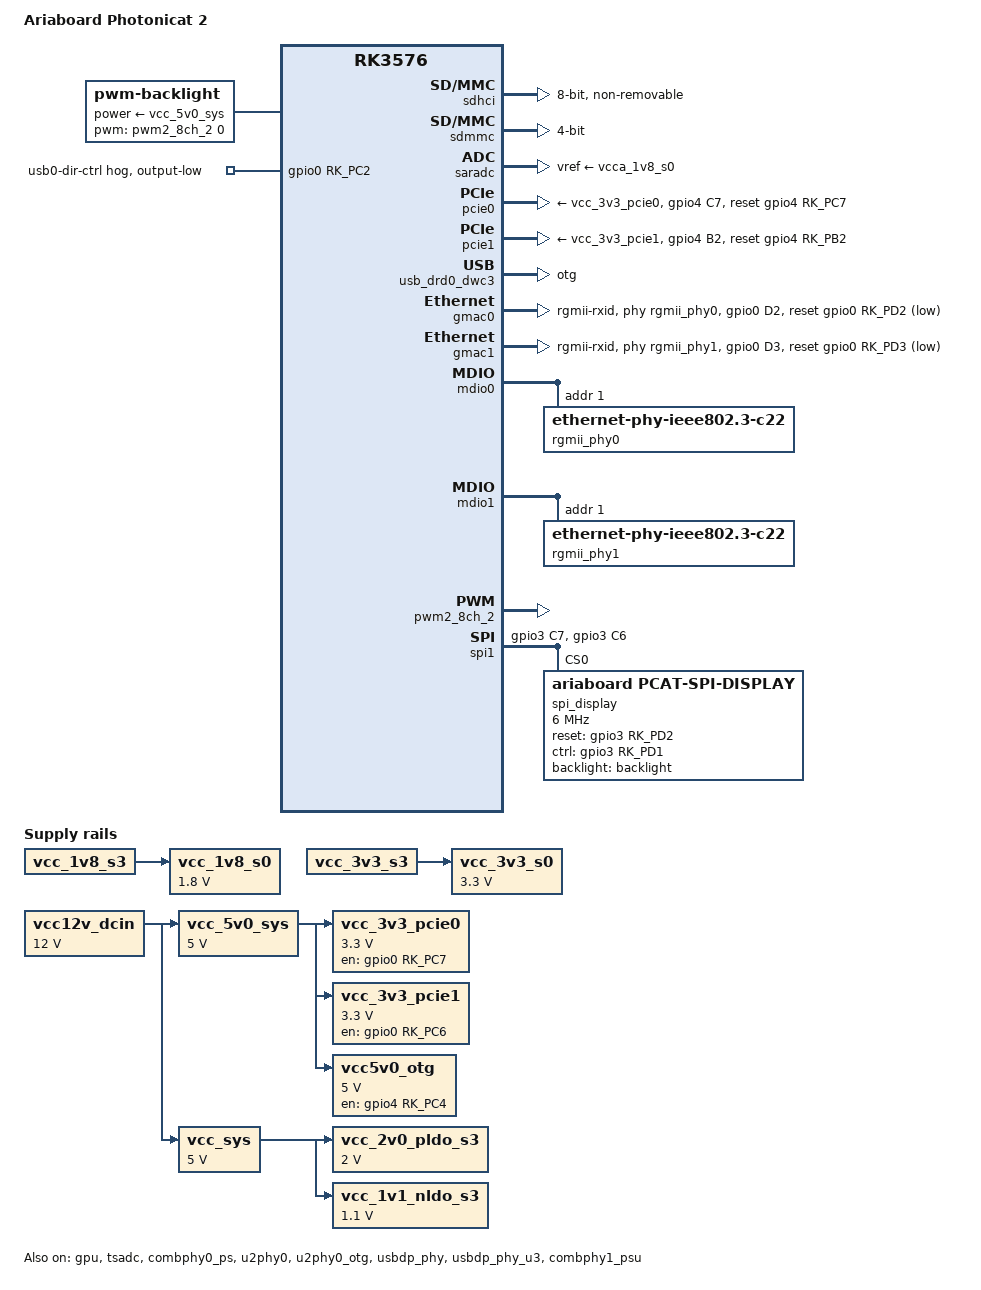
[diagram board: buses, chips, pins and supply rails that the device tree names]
// SPDX-License-Identifier: (GPL-2.0+ OR MIT)
/*
 * Copyright (c) 2025 Rockchip Electronics Co., Ltd.
 * Copyright (c) 2025 Radxa Computer (Shenzhen) Co., Ltd.
 *
 */

/dts-v1/;

#include <dt-bindings/usb/pd.h>
#include <dt-bindings/gpio/gpio.h>
#include <dt-bindings/pwm/pwm.h>
#include <dt-bindings/pinctrl/rockchip.h>
#include <dt-bindings/input/rk-input.h>
#include <dt-bindings/display/drm_mipi_dsi.h>
#include <dt-bindings/display/rockchip_vop.h>
#include <dt-bindings/sensor-dev.h>

#include "rockchip/rk3576.dtsi"
#include "rockchip/rk3576-linux.dtsi"
#include "rockchip/rk3576-rk806.dtsi"

/ {
	model = "Ariaboard Photonicat 2";
	compatible = "ariaboard,photonicat2", "rockchip,rk3576";

	aliases {
		ethernet0 = &gmac0;
		ethernet1 = &gmac1;
		mmc0 = &sdhci;
		mmc1 = &sdmmc;
	};

	vcc_2v0_pldo_s3: vcc-2v0-pldo-s3 {
		compatible = "regulator-fixed";
		regulator-name = "vcc_2v0_pldo_s3";
		regulator-boot-on;
		regulator-always-on;
		regulator-min-microvolt = <2000000>;
		regulator-max-microvolt = <2000000>;
		vin-supply = <&vcc_sys>;
	};

	vcc_1v1_nldo_s3: vcc-1v1-nldo-s3 {
		compatible = "regulator-fixed";
		regulator-name = "vcc_1v1_nldo_s3";
		regulator-boot-on;
		regulator-always-on;
		regulator-min-microvolt = <1100000>;
		regulator-max-microvolt = <1100000>;
		vin-supply = <&vcc_sys>;
	};

	vcc_1v8_s0: vcc-1v8-s0 {
		compatible = "regulator-fixed";
		regulator-name = "vcc_1v8_s0";
		regulator-boot-on;
		regulator-always-on;
		regulator-min-microvolt = <1800000>;
		regulator-max-microvolt = <1800000>;
		vin-supply = <&vcc_1v8_s3>;
	};

	vcc_3v3_s0: vcc-3v3-s0 {
		compatible = "regulator-fixed";
		regulator-name = "vcc_3v3_s0";
		regulator-boot-on;
		regulator-always-on;
		regulator-min-microvolt = <3300000>;
		regulator-max-microvolt = <3300000>;
		vin-supply = <&vcc_3v3_s3>;
	};

	vcc12v_dcin: vcc12v-dcin {
		compatible = "regulator-fixed";
		regulator-name = "vcc12v_dcin";
		regulator-always-on;
		regulator-boot-on;
		regulator-min-microvolt = <12000000>;
		regulator-max-microvolt = <12000000>;
	};

	vcc_5v0_sys: vcc5v0-sys {
		compatible = "regulator-fixed";
		regulator-name = "vcc5v0_sys";
		regulator-always-on;
		regulator-boot-on;
		regulator-min-microvolt = <5000000>;
		regulator-max-microvolt = <5000000>;
		vin-supply = <&vcc12v_dcin>;
	};

	vcc_sys: vcc5v0-sys {
		compatible = "regulator-fixed";
		regulator-name = "vcc_sys";
		regulator-always-on;
		regulator-boot-on;
		regulator-min-microvolt = <5000000>;
		regulator-max-microvolt = <5000000>;
		vin-supply = <&vcc12v_dcin>;
	};

	vcc_3v3_pcie0: regulator-vcc-3v3-pcie0 {
		compatible = "regulator-fixed";
		pinctrl-names = "default";
		pinctrl-0 = <&pcie0_pwr_en>;
		regulator-name = "vcc_3v3_pcie0";
		regulator-min-microvolt = <3300000>;
		regulator-max-microvolt = <3300000>;
		enable-active-high;
		gpio = <&gpio0 RK_PC7 GPIO_ACTIVE_HIGH>;
		startup-delay-us = <5000>;
		vin-supply = <&vcc_5v0_sys>;
	};

	vcc_3v3_pcie1: regulator-vcc-3v3-pcie1 {
		compatible = "regulator-fixed";
		pinctrl-names = "default";
		pinctrl-0 = <&pcie1_pwr_en>;
		regulator-name = "vcc_3v3_pcie1";
		regulator-min-microvolt = <3300000>;
		regulator-max-microvolt = <3300000>;
		enable-active-high;
		gpio = <&gpio0 RK_PC6 GPIO_ACTIVE_HIGH>;
		startup-delay-us = <5000>;
		vin-supply = <&vcc_5v0_sys>;
	};

	vcc5v0_otg: vcc5v0-otg {
		compatible = "regulator-fixed";
		regulator-name = "vcc5v0_otg";
		regulator-boot-on;
		regulator-always-on;
		regulator-min-microvolt = <5000000>;
		regulator-max-microvolt = <5000000>;
		enable-active-high;
		gpio = <&gpio4 RK_PC4 0>;
		vin-supply = <&vcc_5v0_sys>;
		pinctrl-names = "default";
		pinctrl-0 = <&usb_otg_pwren>;
	};

	backlight: backlight {
		compatible = "pwm-backlight";
		power-supply = <&vcc_5v0_sys>;
		pwms = <&pwm2_8ch_2 0 25000 PWM_POLARITY_INVERTED>;
		brightness-levels = <
			  0   1   2   3   4   5   6   7
			  8   9  10  11  12  13  14  15
			 16  17  18  19  20  21  22  23
			 24  25  26  27  28  29  30  31
			 32  33  34  35  36  37  38  39
			 40  41  42  43  44  45  46  47
			 48  49  50  51  52  53  54  55
			 56  57  58  59  60  61  62  63
			 64  65  66  67  68  69  70  71
			 72  73  74  75  76  77  78  79
			 80  81  82  83  84  85  86  87
			 88  89  90  91  92  93  94  95
			 96  97  98  99 100 101 102 103
			104 105 106 107 108 109 110 111
			112 113 114 115 116 117 118 119
			120 121 122 123 124 125 126 127
			128 129 130 131 132 133 134 135
			136 137 138 139 140 141 142 143
			144 145 146 147 148 149 150 151
			152 153 154 155 156 157 158 159
			160 161 162 163 164 165 166 167
			168 169 170 171 172 173 174 175
			176 177 178 179 180 181 182 183
			184 185 186 187 188 189 190 191
			192 193 194 195 196 197 198 199
			200 201 202 203 204 205 206 207
			208 209 210 211 212 213 214 215
			216 217 218 219 220 221 222 223
			224 225 226 227 228 229 230 231
			232 233 234 235 236 237 238 239
			240 241 242 243 244 245 246 247
			248 249 250 251 252 253 254 255>;
		default-brightness-level = <200>;
	};
};

&sdhci {
	bus-width = <8>;
	full-pwr-cycle-in-suspend;
	max-frequency = <150000000>;
	mmc-hs400-1_8v;
	mmc-hs400-enhanced-strobe;

	/delete-property/ supports-cqe;

	no-sdio;
	no-sd;
	non-removable;
	status = "okay";
};

&sdmmc {
	max-frequency = <200000000>;
	no-sdio;
	no-mmc;
	bus-width = <4>;
	cap-mmc-highspeed;
	cap-sd-highspeed;
	disable-wp;
	sd-uhs-sdr104;
	vqmmc-supply = <&vccio_sd_s0>;
	status = "okay";
};

&cpu_l0 {
	cpu-supply = <&vdd_cpu_lit_s0>;
};

&cpu_b0 {
	cpu-supply = <&vdd_cpu_big_s0>;
};

&gpu {
	mali-supply = <&vdd_gpu_s0>;
	status = "okay";
};

&saradc {
	status = "okay";
	vref-supply = <&vcca_1v8_s0>;
};

&tsadc {
	status = "okay";
};

&combphy0_ps {
	status = "okay";
};

&pcie0 {
	pinctrl-names = "default";
	pinctrl-0 = <&pcie0_reset>;
	reset-gpios = <&gpio4 RK_PC7 0>;
	vpcie3v3-supply = <&vcc_3v3_pcie0>;
	status = "okay";
	rockchip,skip-scan-in-resume;
};

&pcie1 {
	pinctrl-names = "default";
	pinctrl-0 = <&pcie1_reset &pcie1m2_pins>;
	reset-gpios = <&gpio4 RK_PB2 0>;
	vpcie3v3-supply = <&vcc_3v3_pcie1>;
	linux,pci-domain = <1>;
	status = "okay";
	rockchip,skip-scan-in-resume;
};

&u2phy0 {
	status = "okay";
};

&u2phy0_otg {
	vbus-supply = <&vcc5v0_otg>;
	status = "okay";
};

&usbdp_phy {
	status = "okay";
	rockchip,dp-lane-mux = <2 3>;
};

&u2phy0 {
	status = "okay";
};

&usbdp_phy_u3 {
	status = "okay";
};

&usb_drd0_dwc3 {
	status = "okay";
	dr_mode = "otg";
	maximum-speed = "high-speed";
};

&combphy1_psu {
	status = "okay";
};

&tsadc {
	status = "okay";
};

&threshold {
	temperature = <80000>;
};

&gmac0 {
	phy-mode = "rgmii-rxid";
	clock_in_out = "output";

	phy-handle = <&rgmii_phy0>;
	pinctrl-names = "default";
	pinctrl-0 = <&eth0m1_miim
		     &eth0m1_tx_bus2
		     &eth0m1_rx_bus2
		     &eth0m1_rgmii_clk
		     &eth0m1_rgmii_bus
		     &ethm1_clk0_25m_out
		     &gmac0_rst>;

	snps,reset-gpio = <&gpio0 RK_PD2 GPIO_ACTIVE_LOW>;
	snps,reset-active-low;
	snps,reset-delays-us = <0 20000 100000>;

	tx_delay = <0x20>;
	/* rx_delay = <0x3f>; */

	status = "okay";
};

&gmac1 {
	phy-mode = "rgmii-rxid";
	clock_in_out = "output";

	phy-handle = <&rgmii_phy1>;
	pinctrl-names = "default";
	pinctrl-0 = <&eth1m0_miim
		     &eth1m0_tx_bus2
		     &eth1m0_rx_bus2
		     &eth1m0_rgmii_clk
		     &eth1m0_rgmii_bus
		     &ethm0_clk1_25m_out
		     &gmac1_rst>;

	snps,reset-gpio = <&gpio0 RK_PD3 GPIO_ACTIVE_LOW>;
	snps,reset-active-low;
	snps,reset-delays-us = <0 20000 100000>;

	tx_delay = <0x20>;
	/* rx_delay = <0x3f>; */

	status = "okay";
};

&mdio0 {
	rgmii_phy0: phy@1 {
		compatible = "ethernet-phy-ieee802.3-c22";
		reg = <0x1>;
		clocks = <&cru REFCLKO25M_GMAC0_OUT>;
	};
};

&mdio1 {
	rgmii_phy1: phy@1 {
		compatible = "ethernet-phy-ieee802.3-c22";
		reg = <0x1>;
		clocks = <&cru REFCLKO25M_GMAC1_OUT>;
	};
};

&pinctrl {
	pcie {
		pcie0_pwr_en: pcie0-pwr-en {
			rockchip,pins = <0 RK_PC7 RK_FUNC_GPIO &pcfg_pull_down>;
		};
		pcie1_pwr_en: pcie1-pwr-en {
			rockchip,pins = <0 RK_PC6 RK_FUNC_GPIO &pcfg_pull_down>;
		};
		pcie0_reset: pcie0-reset {
			rockchip,pins = <4 RK_PC7 RK_FUNC_GPIO &pcfg_pull_up>;
		};
		pcie1_reset: pcie1-reset {
			rockchip,pins = <4 RK_PB2 RK_FUNC_GPIO &pcfg_pull_up>;
		};
	};

	usb {
		usb_otg_pwren: usb-otg-pwren {
			rockchip,pins = <4 RK_PC4 RK_FUNC_GPIO &pcfg_pull_none>;
		};

		usb_hub_switch: usb-hub-switch {
			rockchip,pins = <0 RK_PC2 RK_FUNC_GPIO &pcfg_pull_none>;
		};
	};

	gmac {
		gmac0_rst: gmac0-rst {
			rockchip,pins = <0 RK_PD2 RK_FUNC_GPIO &pcfg_pull_none>;
		};
		gmac1_rst: gmac1-rst {
			rockchip,pins = <0 RK_PD3 RK_FUNC_GPIO &pcfg_pull_none>;
		};
	};

	spi1 {
		spi1m2_1_pins: spi1m2-1-pins {
			rockchip,pins =
				/* spi1_clk_m2 */
				<3 RK_PC7 10 &pcfg_pull_none>,
				/* spi1_mosi_m2 */
				<3 RK_PC6 10 &pcfg_pull_none>;
		};
	};

	lcd {
		lcd0_pins: lcd0-pins {
			rockchip,pins =
				<3 RK_PD2 RK_FUNC_GPIO &pcfg_pull_none>,
				<3 RK_PD1 RK_FUNC_GPIO &pcfg_pull_none>;
		};
	};

	spi {
		spi_gpio_pins: spi-gpio-pins {
			rockchip,pins =
				<3 RK_PC7 RK_FUNC_GPIO &pcfg_pull_none>,
				<3 RK_PC6 RK_FUNC_GPIO &pcfg_pull_none>,
				<3 RK_PD0 RK_FUNC_GPIO &pcfg_pull_none>;
		};
	};
};

&gpio0 {
	usb0-dir-ctrl {
		gpio-hog;
		gpios = <RK_PC2 GPIO_ACTIVE_HIGH>;
		output-low;
		line-name = "usb0-dir-ctrl";
        };
};

&pwm2_8ch_2 {
	pinctrl-0 = <&pwm2m3_ch2>;
	status = "okay";
};

&spi1 {
	status = "okay";
	pinctrl-0 = <&spi1m2_csn0 &spi1m2_1_pins>;
	spi-max-frequency = <6000000>;
	#address-cells = <0x1>;
	#size-cells = <0x0>;

	spi_display: display@0 {
		compatible = "ariaboard,pcat-spi-display";
		pinctrl-names = "default";
		pinctrl-0 = <&lcd0_pins>;
		reg = <0>;
		spi-max-frequency = <6000000>;
		backlight = <&backlight>;
		reset-gpios = <&gpio3 RK_PD2 GPIO_ACTIVE_HIGH>;
		ctrl-gpios = <&gpio3 RK_PD1 GPIO_ACTIVE_HIGH>;
	};
};
